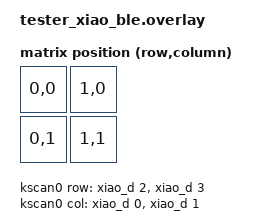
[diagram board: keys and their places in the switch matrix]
#include <dt-bindings/zmk/matrix_transform.h>
#
/ {
    chosen {
        zmk,kscan = &kscan0;
        zmk,physical-layout = &physical_layout0;
        zmk,matrix-transform = &default_transform;
    };

    kscan0: kscan {
        compatible = "zmk,kscan-gpio-matrix";
        wakeup-source;
        diode-direction = "col2row";
        col-gpios
            = <&xiao_d 0 GPIO_ACTIVE_HIGH>
            , <&xiao_d 1 GPIO_ACTIVE_HIGH>
            ;
        row-gpios
            = <&xiao_d 2 (GPIO_ACTIVE_HIGH | GPIO_PULL_DOWN)>
            , <&xiao_d 3 (GPIO_ACTIVE_HIGH | GPIO_PULL_DOWN)>
            ;
    };

    physical_layout0: physical_layout_0 {
        compatible = "zmk,physical-layout";
        display-name = "XIAO Tester default";
        transform = < &default_transform >;

        // Map key positions to the XIAO pinout.
        keys  //                     w   h    x    y    rot   rx   ry
            = <&key_physical_attrs 100 100    0    0      0    0    0>
            , <&key_physical_attrs 100 100    0  100      0    0    0>
            , <&key_physical_attrs 100 100  100    0      0    0    0>
            , <&key_physical_attrs 100 100  100  100      0    0    0>
            ;
    };

    default_transform: matrix_transform {
        compatible = "zmk,matrix-transform";
        rows = <2>;
        columns = <2>;
        map = <
            RC(0,0) RC(0,1)
            RC(1,0) RC(1,1)
        >;
    };
};



